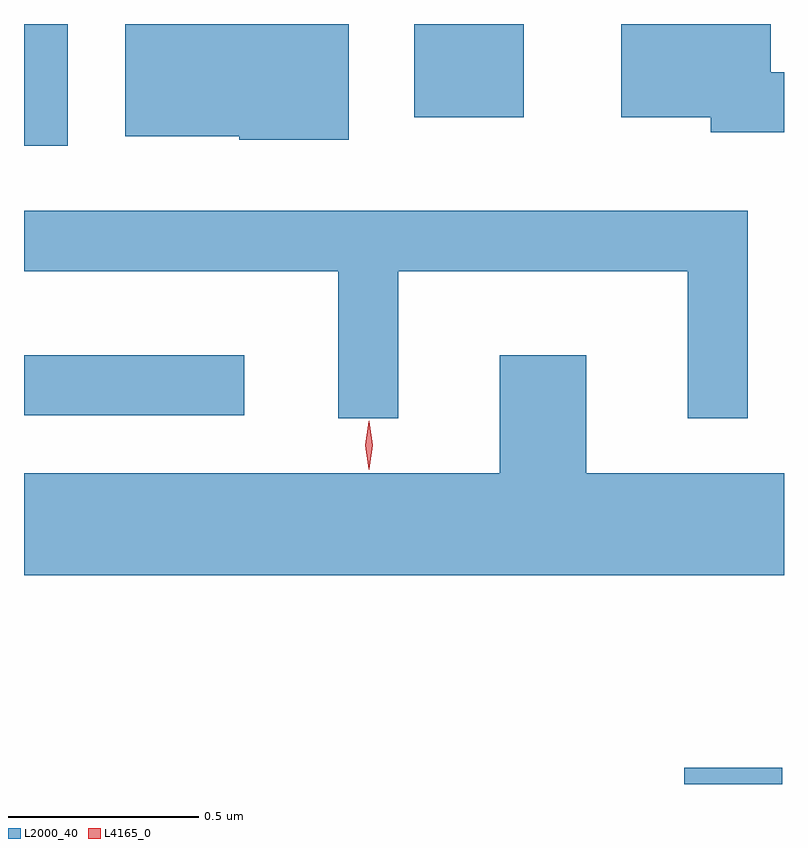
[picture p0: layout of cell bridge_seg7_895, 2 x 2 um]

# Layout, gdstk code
import gdstk
lib = gdstk.Library(unit=1e-6, precision=1e-09)
def R(c, l, rs):  # rectangles x0, y0, x1, y1
    for r in rs: c.add(gdstk.rectangle(r[:2], r[2:], *l))
def P(c, l, *ps):  # polygons
    for p in ps: c.add(gdstk.Polygon(p, *l))
L2000_40 = (2000, 40)
L4165_0 = (4165, 0)

bridge_seg7_895 = lib.new_cell('bridge_seg7_895')
R(bridge_seg7_895, L2000_40, [(382.136,1687.126,382.394,1687.169), (380.399,1688.096,380.978,1688.254), (380.399,1688.806,380.514,1689.126), (381.426,1688.881,381.714,1689.126)])
P(bridge_seg7_895, L2000_40, [(382.399,1688.999),(382.364,1688.999),(382.364,1689.126),(381.971,1689.126),(381.971,1688.881),(382.206,1688.881),(382.206,1688.841),(382.399,1688.841)],
  [(381.254,1689.126),(380.666,1689.126),(380.666,1688.831),(380.965,1688.831),(380.965,1688.821),(381.254,1688.821)],
  [(381.384,1688.476),(382.146,1688.476),(382.146,1688.088),(382.304,1688.088),(382.304,1688.634),(380.399,1688.634),(380.399,1688.476),(381.226,1688.476),(381.226,1688.088),(381.384,1688.088)],
  [(382.399,1687.944),(381.879,1687.944),(381.879,1688.254),(381.651,1688.254),(381.651,1687.944),(380.399,1687.944),(380.399,1687.676),(382.399,1687.676)])
P(bridge_seg7_895, L4165_0, [(381.307,1687.953),(381.306,1687.954),(381.297,1688.017),(381.306,1688.081),(381.307,1688.082),(381.307,1688.081),(381.317,1688.017),(381.307,1687.954)])

lib.write_gds('bridge_seg7_895.gds')
